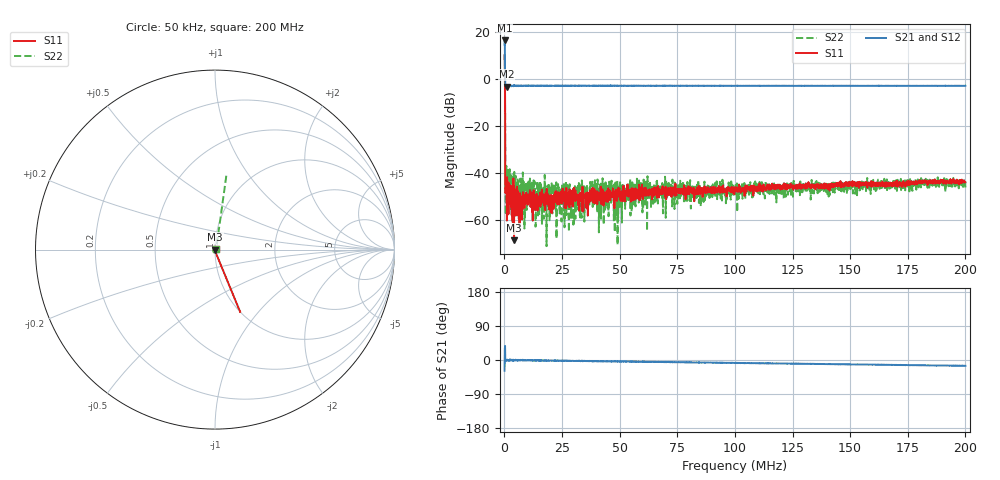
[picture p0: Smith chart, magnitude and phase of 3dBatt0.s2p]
! 19-Feb-26 1:28:20 PM
! E:\VNA_MEASUREMENTS\RECBLOCK\3DBATT0.S2P
! CHANNEL.1
! TR.MEASUREMENT
! CORRECTED.DATA
# GHZ S RI R 50.0
! FREQ.GHZ  S11RE  S11IM  S21RE  S21IM  S12RE  S12IM  S22RE  S22IM
!; PortSelection: Port_12
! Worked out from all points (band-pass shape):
!   2000 points, 50 kHz to 200 MHz, reference 50 ohm
!   highest |S21| = 16.21 dB at 150 kHz (marker M1); lowest = -3.3 dB at 1.05 MHz (marker M2)
!   |S21| within 3 dB of the highest: start of sweep to 171.3 kHz
!   lowest |S11| = -68.6 dB at 4.151 MHz (marker M3), VSWR 1.00, Z = 50 + j0.0365 ohm
!   |S11| at or under -10 dB: 254.4 kHz to end of sweep
!   |S22| runs from -71.0 to 9.8 dB; largest |S21 - S12| = 6.7
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5e-05  1.887 -2.549  4.672 -2.506  2.243 0.6722  1.749 1.781
0.000150025  -1.615 -0.2034  5.648 3.148  -0.0253 -0.4512  1.692 2.589
0.00105025  -0.000943 -0.000281  0.6832 -0.0147  0.7068 -0.00603  -0.00998 -0.00708
0.001150275  0.00765 0.0029  0.7071 0.0142  0.7102 -0.000827  0.00244 0.00822
0.001350325  0.00315 0.00163  0.7194 0.00039  0.7018 -0.00108  0.00726 0.00203
0.004151026  7.79e-05 0.000365  0.6988 -0.00982  0.7073 -0.00253  -0.00284 -0.000782
0.006951726  0.00299 0.00154  0.7119 -0.0121  0.7079 -0.00493  0.00266 -0.00228
0.009152276  0.00206 0.000896  0.7148 -0.00247  0.7059 -0.00983  0.00645 0.000427
0.01235308  0.00221 0.000196  0.7072 -0.0106  0.7075 -0.0124  0.0027 0.0014
0.01425355  0.00255 0.000381  0.7151 -0.00739  0.7077 -0.0166  0.00679 -0.000978
0.02665665  0.00159 0.00127  0.7123 -0.0174  0.7078 -0.0293  0.0062 -0.00304
0.0300575  0.0037 0.00131  0.7108 -0.0324  0.7047 -0.0294  0.000959 0.00048
0.03345835  0.00283 0.00133  0.7128 -0.0314  0.7076 -0.0323  0.00107 -0.000335
0.04436108  0.0025 0.000195  0.7073 -0.0378  0.7065 -0.0447  0.0028 -0.000515
0.04626156  0.00246 0.0018  0.7146 -0.0443  0.7065 -0.0426  -0.000229 0.00233
0.04836208  0.00413 0.00158  0.701 -0.0503  0.7062 -0.0475  0.00648 0.00179
0.05356338  0.00288 0.00258  0.7061 -0.054  0.7059 -0.0536  0.0041 0.00252
0.06676668  0.00407 0.0026  0.705 -0.0643  0.705 -0.0635  0.00375 0.00224
0.100075  0.00339 0.00251  0.6993 -0.0974  0.7005 -0.0942  0.00258 0.00287
0.1333833  0.00413 0.0033  0.6966 -0.1262  0.6949 -0.1267  0.00355 0.00334
0.1666917  0.00416 0.00364  0.6906 -0.1564  0.6857 -0.157  0.00494 0.0042
0.2  0.005 0.00399  0.6835 -0.1879  0.6799 -0.186  0.0029 0.004
